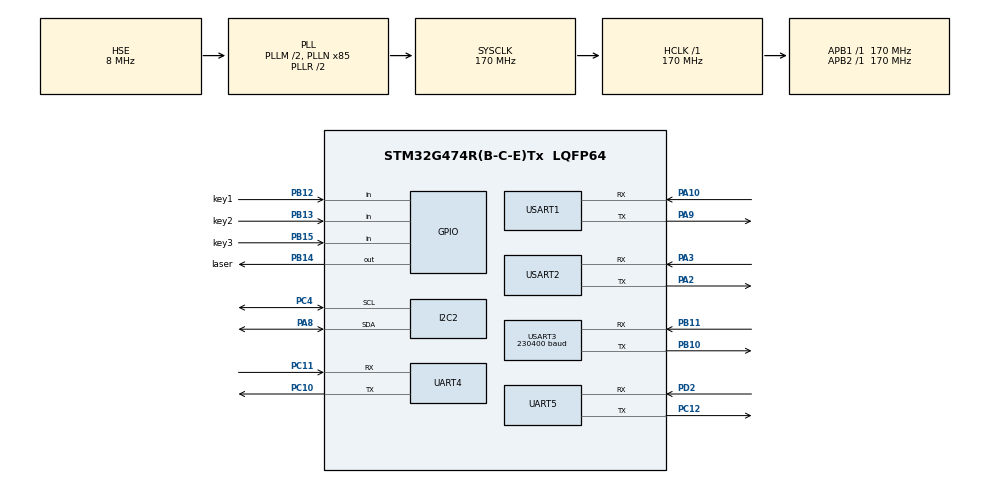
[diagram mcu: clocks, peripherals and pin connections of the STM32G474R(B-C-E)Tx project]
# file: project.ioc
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I2C2.Timing=0x40B285C2
Mcu.Family=STM32G4
Mcu.Name=STM32G474R(B-C-E)Tx
Mcu.Package=LQFP64
NVIC.PriorityGroup=NVIC_PRIORITYGROUP_4
NVIC.UART4_IRQn=true\:0\:0\:false\:false\:true\:true\:true\:true
NVIC.UART5_IRQn=true\:0\:0\:false\:false\:true\:true\:true\:true
NVIC.USART1_IRQn=true\:0\:0\:false\:false\:true\:true\:true\:true
NVIC.USART2_IRQn=true\:0\:0\:false\:false\:true\:true\:true\:true
NVIC.USART3_IRQn=true\:0\:0\:false\:false\:true\:true\:true\:true
PA10.Mode=Asynchronous
PA10.Signal=USART1_RX
PA13.Mode=Serial_Wire
PA13.Signal=SYS_JTMS-SWDIO
PA14.Mode=Serial_Wire
PA14.Signal=SYS_JTCK-SWCLK
PA2.Mode=Asynchronous
PA2.Signal=USART2_TX
PA3.Mode=Asynchronous
PA3.Signal=USART2_RX
PA8.GPIO_Speed=GPIO_SPEED_FREQ_HIGH
PA8.Mode=I2C
PA8.Signal=I2C2_SDA
PA9.Mode=Asynchronous
PA9.Signal=USART1_TX
PB10.Mode=Asynchronous
PB10.Signal=USART3_TX
PB11.Mode=Asynchronous
PB11.Signal=USART3_RX
PB12.GPIO_Label=key1
PB12.GPIO_PuPd=GPIO_PULLUP
PB12.Signal=GPIO_Input
PB13.GPIO_Label=key2
PB13.GPIO_PuPd=GPIO_PULLUP
PB13.Signal=GPIO_Input
PB14.GPIO_Label=laser
PB14.Signal=GPIO_Output
PB15.GPIO_Label=key3
PB15.GPIO_PuPd=GPIO_PULLUP
PB15.Signal=GPIO_Input
PC10.Mode=Asynchronous
PC10.Signal=UART4_TX
PC11.Mode=Asynchronous
PC11.Signal=UART4_RX
PC12.Mode=Asynchronous
PC12.Signal=UART5_TX
PC4.GPIO_Speed=GPIO_SPEED_FREQ_HIGH
PC4.Mode=I2C
PC4.Signal=I2C2_SCL
PD2.Mode=Asynchronous
PD2.Signal=UART5_RX
PF0-OSC_IN.Mode=HSE-External-Oscillator
PF0-OSC_IN.Signal=RCC_OSC_IN
PF1-OSC_OUT.Mode=HSE-External-Oscillator
PF1-OSC_OUT.Signal=RCC_OSC_OUT
ProjectManager.HeapSize=0x200
ProjectManager.StackSize=0x400
ProjectManager.TargetToolchain=MDK-ARM V5.32
RCC.ADC12Freq_Value=170000000
RCC.ADC345Freq_Value=170000000
RCC.AHBFreq_Value=170000000
RCC.APB1Freq_Value=170000000
RCC.APB1TimFreq_Value=170000000
RCC.APB2Freq_Value=170000000
RCC.APB2TimFreq_Value=170000000
RCC.CortexFreq_Value=170000000
RCC.EXTERNAL_CLOCK_VALUE=12288000
RCC.HCLKFreq_Value=170000000
RCC.HSE_VALUE=8000000
RCC.HSI48_VALUE=48000000
RCC.HSI_VALUE=16000000
RCC.LSE_VALUE=32768
RCC.PLLM=RCC_PLLM_DIV2
RCC.PLLN=85
RCC.PLLSourceVirtual=RCC_PLLSOURCE_HSE
RCC.SYSCLKFreq_VALUE=170000000
RCC.SYSCLKSource=RCC_SYSCLKSOURCE_PLLCLK
RCC.USBFreq_Value=170000000
RCC.VCOOutputFreq_Value=340000000
USART1.VirtualMode-Asynchronous=VM_ASYNC
USART2.VirtualMode-Asynchronous=VM_ASYNC
USART3.BaudRate=230400
USART3.VirtualMode-Asynchronous=VM_ASYNC
VP_SYS_VS_DBSignals.Mode=DisableDeadBatterySignals
board=custom

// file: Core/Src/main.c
/* USER CODE BEGIN Header */
/**
  ******************************************************************************
  * @file           : main.c
  * @brief          : Main program body
  ******************************************************************************
  * @attention
  *
  * Copyright (c) 2026 STMicroelectronics.
  * All rights reserved.
  *
  * This software is licensed under terms that can be found in the LICENSE file
  * in the root directory of this software component.
  * If no LICENSE file comes with this software, it is provided AS-IS.
  *
  ******************************************************************************
  */
/* USER CODE END Header */
#include "main.h"

/* USER CODE BEGIN Includes */
#include "app_common.h"
/* USER CODE END Includes */

I2C_HandleTypeDef hi2c2;

UART_HandleTypeDef huart4;
UART_HandleTypeDef huart5;
UART_HandleTypeDef huart1;
UART_HandleTypeDef huart2;
UART_HandleTypeDef huart3;

/* USER CODE BEGIN PV */
Start_FlagStatus flag = {
  .stop_scan = 0,
  .initial_yaw = 0.0f,
  .first_frame_received = 0,
  .data_valid = 0,
  .flag_yaw = 0,
  .pid_change = 0,
};

scan_config scan_init = {
    .scan = 0,
    .question_num = 0,
    .start_flag = 0,
    .scan_speed = 240,
};

float now_yaw =0;
uint8_t rx_yaw =0;
uint8_t car_rx_byte = 0;
QD4310_t Motor_0 = {.id = 0, .huart = &huart1};
QD4310_t Motor_1 = {.id = 1, .huart = &huart2};
/* USER CODE END PV */

void SystemClock_Config(void);
static void MX_GPIO_Init(void);
static void MX_UART4_Init(void);
static void MX_UART5_Init(void);
static void MX_USART1_UART_Init(void);
static void MX_USART2_UART_Init(void);
static void MX_USART3_UART_Init(void);
static void MX_I2C2_Init(void);

int main(void)
{

  /* MCU Configuration--------------------------------------------------------*/

  /* Reset of all peripherals, Initializes the Flash interface and the Systick. */
  HAL_Init();

  /* Configure the system clock */
  SystemClock_Config();

  /* Initialize all configured peripherals */
  MX_GPIO_Init();
  MX_UART4_Init();
  MX_UART5_Init();
  MX_USART1_UART_Init();
  MX_USART2_UART_Init();
  MX_USART3_UART_Init();
  MX_I2C2_Init();
  /* USER CODE BEGIN 2 */
  task_oled_and_init();
  QD4310_Enable(&Motor_0);         // 使能电机
  QD4310_Enable(&Motor_1);
  HAL_Delay(10);
  QD4310_SetSpeed(&Motor_0, 0.0f); // 设置电机转速为0rpm
  QD4310_SetSpeed(&Motor_1, 0.0f);
  HAL_Delay(10);
  /* PID 默认参数初始化 — 菜单在此基础上下发修改 */
  Control_PID_Init(&pid_control_y, pid_params_y.kp, pid_params_y.ki, pid_params_y.kd, -100.0f, 100.0f);
  Control_PID_Init(&pid_control_x, pid_params_x.kp, pid_params_x.ki, pid_params_x.kd, -500.0f, 500.0f);

  GimbalComm_Init();               // 启动 UART5 接收中断 (菜单 ↔ 云台)
  GimbalComm_Send();               // 上电主动发送一次当前 PID/前馈给菜单
  /* USER CODE END 2 */

  /* Infinite loop */
  while (1)
  {

    /* USER CODE BEGIN 3 */
    //oled_task();
    key_task();
    Vision_Task();//是否发射激光检测函数
    for (int i = 0; i <= 100; i++)
    {
        QD4310_SetSpeed(&Motor_0, (float)i);
        HAL_Delay(50);
    }
    for (int i = 100; i >= 0; i--)
    {
        QD4310_SetSpeed(&Motor_0, (float)i);
        HAL_Delay(50);
    }
    if(scan_init.start_flag == 1)
    {
      if(scan_init.question_num == 1 || scan_init.question_num == 2 || scan_init.question_num == 3)
      {
        // 1/2号任务：仅外环PID控制电机
        PID_Control_Outer_Only();
      }
    }
    task_scan();

    /* 云台通讯: 收到菜单发来的调参数据 → 应用并回传当前值 */
    if (gimbal_recv_flag)
    {
        GimbalComm_ApplyRecvData();   // 写入 pid_control_x/y 和 kf_table
        GimbalComm_Send();            // 回传当前值给菜单 (E9...9E)
    }

    /* ===== DEBUG: 显示 PID 参数，验证通信 ===== */
    {
        static uint32_t last_debug_tick = 0;
        if (HAL_GetTick() - last_debug_tick > 200)  // 200ms 刷新
        {
            last_debug_tick = HAL_GetTick();
            OLED_Clear();
            OLED_ShowString(0, 0,  "XKp:", OLED_8X16);
            OLED_ShowFloatNum(32, 0, pid_control_x.Kp, 3, 2, OLED_8X16);
            OLED_ShowString(0, 16, "XKi:", OLED_8X16);
            OLED_ShowFloatNum(32, 16, pid_control_x.Ki, 3, 2, OLED_8X16);
            OLED_ShowString(0, 32, "YKp:", OLED_8X16);
            OLED_ShowFloatNum(32, 32, pid_control_y.Kp, 3, 2, OLED_8X16);
            OLED_ShowString(0, 48, "YKi:", OLED_8X16);
            OLED_ShowFloatNum(32, 48, pid_control_y.Ki, 3, 2, OLED_8X16);
            OLED_Update();
        }
    }
    /* ===== DEBUG END ===== */
  }
  /* USER CODE END 3 */
}

void SystemClock_Config(void)
{
  RCC_OscInitTypeDef RCC_OscInitStruct = {0};
  RCC_ClkInitTypeDef RCC_ClkInitStruct = {0};

  /** Configure the main internal regulator output voltage
  */
  HAL_PWREx_ControlVoltageScaling(PWR_REGULATOR_VOLTAGE_SCALE1_BOOST);

  /** Initializes the RCC Oscillators according to the specified parameters
  * in the RCC_OscInitTypeDef structure.
  */
  RCC_OscInitStruct.OscillatorType = RCC_OSCILLATORTYPE_HSE;
  RCC_OscInitStruct.HSEState = RCC_HSE_ON;
  RCC_OscInitStruct.PLL.PLLState = RCC_PLL_ON;
  RCC_OscInitStruct.PLL.PLLSource = RCC_PLLSOURCE_HSE;
  RCC_OscInitStruct.PLL.PLLM = RCC_PLLM_DIV2;
  RCC_OscInitStruct.PLL.PLLN = 85;
  RCC_OscInitStruct.PLL.PLLP = RCC_PLLP_DIV2;
  RCC_OscInitStruct.PLL.PLLQ = RCC_PLLQ_DIV2;
  RCC_OscInitStruct.PLL.PLLR = RCC_PLLR_DIV2;
  if (HAL_RCC_OscConfig(&RCC_OscInitStruct) != HAL_OK)
  {
    Error_Handler();
  }

  /** Initializes the CPU, AHB and APB buses clocks
  */
  RCC_ClkInitStruct.ClockType = RCC_CLOCKTYPE_HCLK|RCC_CLOCKTYPE_SYSCLK
                              |RCC_CLOCKTYPE_PCLK1|RCC_CLOCKTYPE_PCLK2;
  RCC_ClkInitStruct.SYSCLKSource = RCC_SYSCLKSOURCE_PLLCLK;
  RCC_ClkInitStruct.AHBCLKDivider = RCC_SYSCLK_DIV1;
  RCC_ClkInitStruct.APB1CLKDivider = RCC_HCLK_DIV1;
  RCC_ClkInitStruct.APB2CLKDivider = RCC_HCLK_DIV1;

  if (HAL_RCC_ClockConfig(&RCC_ClkInitStruct, FLASH_LATENCY_4) != HAL_OK)
  {
    Error_Handler();
  }
}

static void MX_I2C2_Init(void)
{

  hi2c2.Instance = I2C2;
  hi2c2.Init.Timing = 0x40B285C2;
  hi2c2.Init.OwnAddress1 = 0;
  hi2c2.Init.AddressingMode = I2C_ADDRESSINGMODE_7BIT;
  hi2c2.Init.DualAddressMode = I2C_DUALADDRESS_DISABLE;
  hi2c2.Init.OwnAddress2 = 0;
  hi2c2.Init.OwnAddress2Masks = I2C_OA2_NOMASK;
  hi2c2.Init.GeneralCallMode = I2C_GENERALCALL_DISABLE;
  hi2c2.Init.NoStretchMode = I2C_NOSTRETCH_DISABLE;
  if (HAL_I2C_Init(&hi2c2) != HAL_OK)
  {
    Error_Handler();
  }

  /** Configure Analogue filter
  */
  if (HAL_I2CEx_ConfigAnalogFilter(&hi2c2, I2C_ANALOGFILTER_ENABLE) != HAL_OK)
  {
    Error_Handler();
  }

  /** Configure Digital filter
  */
  if (HAL_I2CEx_ConfigDigitalFilter(&hi2c2, 0) != HAL_OK)
  {
    Error_Handler();
  }

}

static void MX_UART4_Init(void)
{

  huart4.Instance = UART4;
  huart4.Init.BaudRate = 115200;
  huart4.Init.WordLength = UART_WORDLENGTH_8B;
  huart4.Init.StopBits = UART_STOPBITS_1;
  huart4.Init.Parity = UART_PARITY_NONE;
  huart4.Init.Mode = UART_MODE_TX_RX;
  huart4.Init.HwFlowCtl = UART_HWCONTROL_NONE;
  huart4.Init.OverSampling = UART_OVERSAMPLING_16;
  huart4.Init.OneBitSampling = UART_ONE_BIT_SAMPLE_DISABLE;
  huart4.Init.ClockPrescaler = UART_PRESCALER_DIV1;
  huart4.AdvancedInit.AdvFeatureInit = UART_ADVFEATURE_NO_INIT;
  if (HAL_UART_Init(&huart4) != HAL_OK)
  {
    Error_Handler();
  }
  if (HAL_UARTEx_SetTxFifoThreshold(&huart4, UART_TXFIFO_THRESHOLD_1_8) != HAL_OK)
  {
    Error_Handler();
  }
  if (HAL_UARTEx_SetRxFifoThreshold(&huart4, UART_RXFIFO_THRESHOLD_1_8) != HAL_OK)
  {
    Error_Handler();
  }
  if (HAL_UARTEx_DisableFifoMode(&huart4) != HAL_OK)
  {
    Error_Handler();
  }

}

static void MX_UART5_Init(void)
{

  huart5.Instance = UART5;
  huart5.Init.BaudRate = 115200;
  huart5.Init.WordLength = UART_WORDLENGTH_8B;
  huart5.Init.StopBits = UART_STOPBITS_1;
  huart5.Init.Parity = UART_PARITY_NONE;
  huart5.Init.Mode = UART_MODE_TX_RX;
  huart5.Init.HwFlowCtl = UART_HWCONTROL_NONE;
  huart5.Init.OverSampling = UART_OVERSAMPLING_16;
  huart5.Init.OneBitSampling = UART_ONE_BIT_SAMPLE_DISABLE;
  huart5.Init.ClockPrescaler = UART_PRESCALER_DIV1;
  huart5.AdvancedInit.AdvFeatureInit = UART_ADVFEATURE_NO_INIT;
  if (HAL_UART_Init(&huart5) != HAL_OK)
  {
    Error_Handler();
  }
  if (HAL_UARTEx_SetTxFifoThreshold(&huart5, UART_TXFIFO_THRESHOLD_1_8) != HAL_OK)
  {
    Error_Handler();
  }
  if (HAL_UARTEx_SetRxFifoThreshold(&huart5, UART_RXFIFO_THRESHOLD_1_8) != HAL_OK)
  {
    Error_Handler();
  }
  if (HAL_UARTEx_DisableFifoMode(&huart5) != HAL_OK)
  {
    Error_Handler();
  }

}

static void MX_USART1_UART_Init(void)
{

  huart1.Instance = USART1;
  huart1.Init.BaudRate = 115200;
  huart1.Init.WordLength = UART_WORDLENGTH_8B;
  huart1.Init.StopBits = UART_STOPBITS_1;
  huart1.Init.Parity = UART_PARITY_NONE;
  huart1.Init.Mode = UART_MODE_TX_RX;
  huart1.Init.HwFlowCtl = UART_HWCONTROL_NONE;
  huart1.Init.OverSampling = UART_OVERSAMPLING_16;
  huart1.Init.OneBitSampling = UART_ONE_BIT_SAMPLE_DISABLE;
  huart1.Init.ClockPrescaler = UART_PRESCALER_DIV1;
  huart1.AdvancedInit.AdvFeatureInit = UART_ADVFEATURE_NO_INIT;
  if (HAL_UART_Init(&huart1) != HAL_OK)
  {
    Error_Handler();
  }
  if (HAL_UARTEx_SetTxFifoThreshold(&huart1, UART_TXFIFO_THRESHOLD_1_8) != HAL_OK)
  {
    Error_Handler();
  }
  if (HAL_UARTEx_SetRxFifoThreshold(&huart1, UART_RXFIFO_THRESHOLD_1_8) != HAL_OK)
  {
    Error_Handler();
  }
  if (HAL_UARTEx_DisableFifoMode(&huart1) != HAL_OK)
  {
    Error_Handler();
  }

}

static void MX_USART2_UART_Init(void)
{

  huart2.Instance = USART2;
  huart2.Init.BaudRate = 115200;
  huart2.Init.WordLength = UART_WORDLENGTH_8B;
  huart2.Init.StopBits = UART_STOPBITS_1;
  huart2.Init.Parity = UART_PARITY_NONE;
  huart2.Init.Mode = UART_MODE_TX_RX;
  huart2.Init.HwFlowCtl = UART_HWCONTROL_NONE;
  huart2.Init.OverSampling = UART_OVERSAMPLING_16;
  huart2.Init.OneBitSampling = UART_ONE_BIT_SAMPLE_DISABLE;
  huart2.Init.ClockPrescaler = UART_PRESCALER_DIV1;
  huart2.AdvancedInit.AdvFeatureInit = UART_ADVFEATURE_NO_INIT;
  if (HAL_UART_Init(&huart2) != HAL_OK)
  {
    Error_Handler();
  }
  if (HAL_UARTEx_SetTxFifoThreshold(&huart2, UART_TXFIFO_THRESHOLD_1_8) != HAL_OK)
  {
    Error_Handler();
  }
  if (HAL_UARTEx_SetRxFifoThreshold(&huart2, UART_RXFIFO_THRESHOLD_1_8) != HAL_OK)
  {
    Error_Handler();
  }
  if (HAL_UARTEx_DisableFifoMode(&huart2) != HAL_OK)
  {
    Error_Handler();
  }

}

static void MX_USART3_UART_Init(void)
{

  huart3.Instance = USART3;
  huart3.Init.BaudRate = 230400;
  huart3.Init.WordLength = UART_WORDLENGTH_8B;
  huart3.Init.StopBits = UART_STOPBITS_1;
  huart3.Init.Parity = UART_PARITY_NONE;
  huart3.Init.Mode = UART_MODE_TX_RX;
  huart3.Init.HwFlowCtl = UART_HWCONTROL_NONE;
  huart3.Init.OverSampling = UART_OVERSAMPLING_16;
  huart3.Init.OneBitSampling = UART_ONE_BIT_SAMPLE_DISABLE;
  huart3.Init.ClockPrescaler = UART_PRESCALER_DIV1;
  huart3.AdvancedInit.AdvFeatureInit = UART_ADVFEATURE_NO_INIT;
  if (HAL_UART_Init(&huart3) != HAL_OK)
  {
    Error_Handler();
  }
  if (HAL_UARTEx_SetTxFifoThreshold(&huart3, UART_TXFIFO_THRESHOLD_1_8) != HAL_OK)
  {
    Error_Handler();
  }
  if (HAL_UARTEx_SetRxFifoThreshold(&huart3, UART_RXFIFO_THRESHOLD_1_8) != HAL_OK)
  {
    Error_Handler();
  }
  if (HAL_UARTEx_DisableFifoMode(&huart3) != HAL_OK)
  {
    Error_Handler();
  }

}

static void MX_GPIO_Init(void)
{
  GPIO_InitTypeDef GPIO_InitStruct = {0};

  /* GPIO Ports Clock Enable */
  __HAL_RCC_GPIOF_CLK_ENABLE();
  __HAL_RCC_GPIOA_CLK_ENABLE();
  __HAL_RCC_GPIOC_CLK_ENABLE();
  __HAL_RCC_GPIOB_CLK_ENABLE();
  __HAL_RCC_GPIOD_CLK_ENABLE();

  /*Configure GPIO pin Output Level */
  HAL_GPIO_WritePin(laser_GPIO_Port, laser_Pin, GPIO_PIN_RESET);

  /*Configure GPIO pins : key1_Pin key2_Pin key3_Pin */
  GPIO_InitStruct.Pin = key1_Pin|key2_Pin|key3_Pin;
  GPIO_InitStruct.Mode = GPIO_MODE_INPUT;
  GPIO_InitStruct.Pull = GPIO_PULLUP;
  HAL_GPIO_Init(GPIOB, &GPIO_InitStruct);

  /*Configure GPIO pin : laser_Pin */
  GPIO_InitStruct.Pin = laser_Pin;
  GPIO_InitStruct.Mode = GPIO_MODE_OUTPUT_PP;
  GPIO_InitStruct.Pull = GPIO_NOPULL;
  GPIO_InitStruct.Speed = GPIO_SPEED_FREQ_LOW;
  HAL_GPIO_Init(laser_GPIO_Port, &GPIO_InitStruct);

}

void Error_Handler(void)
{
  __disable_irq();
  while (1)
  {
  }
}
